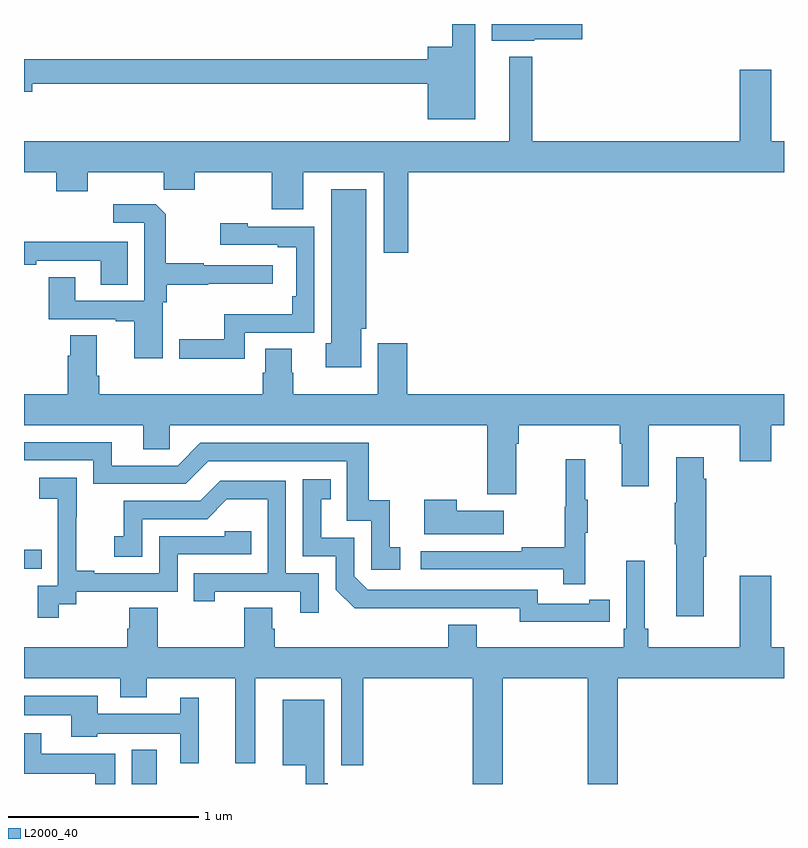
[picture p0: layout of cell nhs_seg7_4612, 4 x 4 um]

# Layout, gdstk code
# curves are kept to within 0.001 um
import gdstk
lib = gdstk.Library(unit=1e-6, precision=1e-09)
def R(c, l, rs):  # rectangles x0, y0, x1, y1
    for r in rs: c.add(gdstk.rectangle(r[:2], r[2:], *l))
def P(c, l, *ps):  # polygons
    for p in ps: c.add(gdstk.Polygon(p, *l))
L2000_40 = (2000, 40)

nhs_seg7_4612 = lib.new_cell('nhs_seg7_4612')
R(nhs_seg7_4612, L2000_40, [(401.567,1060,401.698,1060.18), (401,1061.133,401.093,1061.234)])
P(nhs_seg7_4612, L2000_40, [(403.686,1063.919),(403.939,1063.919),(403.939,1064),(403.463,1064),(403.463,1063.913),(403.686,1063.913)],
  [(403.375,1064),(403.254,1064),(403.254,1063.879),(403.124,1063.879),(403.124,1063.814),(401,1063.814),(401,1063.643),(401.044,1063.643),(401.044,1063.686),(403.124,1063.686),(403.124,1063.499),(403.375,1063.499)],
  [(403.022,1063.22),(405,1063.22),(405,1063.384),(404.932,1063.384),(404.932,1063.759),(404.768,1063.759),(404.768,1063.384),(403.675,1063.384),(403.675,1063.828),(403.553,1063.828),(403.553,1063.384),(401,1063.384),(401,1063.22),(401.171,1063.22),(401.171,1063.121),(401.335,1063.121),(401.335,1063.22),(401.735,1063.22),(401.735,1063.127),(401.899,1063.127),(401.899,1063.22),(402.305,1063.22),(402.305,1063.026),(402.469,1063.026),(402.469,1063.22),(402.893,1063.22),(402.893,1062.795),(403.022,1062.795)],
  [(402.775,1062.396),(402.802,1062.396),(402.802,1063.129),(402.617,1063.129),(402.617,1062.32),(402.587,1062.32),(402.587,1062.194),(402.775,1062.194)],
  [(401.73,1062.536),(401.75,1062.536),(401.75,1062.628),(401.969,1062.628),(401.969,1062.632),(402.31,1062.632),(402.31,1062.729),(401.945,1062.729),(401.945,1062.742),(401.745,1062.742),(401.745,1062.999),(401.693,1063.051),(401.469,1063.051),(401.469,1062.954),(401.634,1062.954),(401.634,1062.543),(401.269,1062.543),(401.269,1062.668),(401.129,1062.668),(401.129,1062.447),(401.483,1062.447),(401.483,1062.435),(401.579,1062.435),(401.579,1062.24),(401.73,1062.24)],
  [(402.162,1062.375),(402.528,1062.375),(402.528,1062.933),(402.177,1062.933),(402.177,1062.952),(402.033,1062.952),(402.033,1062.837),(402.335,1062.837),(402.335,1062.825),(402.432,1062.825),(402.432,1062.568),(402.412,1062.568),(402.412,1062.472),(402.054,1062.472),(402.054,1062.341),(401.817,1062.341),(401.817,1062.239),(402.162,1062.239)],
  [(401.545,1062.854),(401,1062.854),(401,1062.733),(401.065,1062.733),(401.065,1062.753),(401.405,1062.753),(401.405,1062.628),(401.545,1062.628)],
  [(403.591,1061.792),(403.604,1061.792),(403.604,1061.888),(404.135,1061.888),(404.135,1061.792),(404.147,1061.792),(404.147,1061.568),(404.287,1061.568),(404.287,1061.888),(404.768,1061.888),(404.768,1061.7),(404.932,1061.7),(404.932,1061.888),(405,1061.888),(405,1062.052),(403.016,1062.052),(403.016,1062.319),(402.863,1062.319),(402.863,1062.052),(402.417,1062.052),(402.417,1062.165),(402.409,1062.165),(402.409,1062.29),(402.269,1062.29),(402.269,1062.165),(402.257,1062.165),(402.257,1062.052),(401.396,1062.052),(401.396,1062.148),(401.383,1062.148),(401.383,1062.362),(401.243,1062.362),(401.243,1062.254),(401.231,1062.254),(401.231,1062.052),(401,1062.052),(401,1061.888),(401.627,1061.888),(401.627,1061.761),(401.766,1061.761),(401.766,1061.888),(403.439,1061.888),(403.439,1061.526),(403.591,1061.526)],
  [(402.979,1061.247),(402.926,1061.247),(402.926,1061.494),(402.815,1061.494),(402.815,1061.796),(401.928,1061.796),(401.808,1061.676),(401.461,1061.676),(401.461,1061.799),(401,1061.799),(401,1061.703),(401.364,1061.703),(401.364,1061.58),(401.85,1061.58),(401.97,1061.7),(402.699,1061.7),(402.699,1061.385),(402.828,1061.385),(402.828,1061.127),(402.979,1061.127)],
  [(404.578,1061.196),(404.591,1061.196),(404.591,1061.606),(404.578,1061.606),(404.578,1061.719),(404.432,1061.719),(404.432,1061.48),(404.425,1061.48),(404.425,1061.263),(404.432,1061.263),(404.432,1060.884),(404.578,1060.884)],
  [(403.955,1061.323),(403.966,1061.323),(403.966,1061.497),(403.955,1061.497),(403.955,1061.71),(403.852,1061.71),(403.852,1061.46),(403.845,1061.46),(403.845,1061.246),(403.621,1061.246),(403.621,1061.226),(403.089,1061.226),(403.089,1061.13),(403.837,1061.13),(403.837,1061.052),(403.955,1061.052)],
  [(401.182,1060.945),(401.274,1060.945),(401.274,1061.013),(401.808,1061.013),(401.808,1061.208),(402.197,1061.208),(402.197,1061.331),(402.057,1061.331),(402.057,1061.304),(401.712,1061.304),(401.712,1061.109),(401.371,1061.109),(401.371,1061.122),(401.276,1061.122),(401.276,1061.405),(401.277,1061.405),(401.277,1061.611),(401.079,1061.611),(401.079,1061.501),(401.177,1061.501),(401.177,1061.273),(401.178,1061.273),(401.178,1061.043),(401.073,1061.043),(401.073,1060.875),(401.182,1060.875)],
  [(403.976,1060.854),(404.084,1060.854),(404.084,1060.97),(403.976,1060.97),(403.976,1060.95),(403.704,1060.95),(403.704,1061.022),(402.81,1061.022),(402.738,1061.094),(402.738,1061.295),(402.565,1061.295),(402.565,1061.499),(402.614,1061.499),(402.614,1061.605),(402.468,1061.605),(402.468,1061.199),(402.642,1061.199),(402.642,1061.022),(402.74,1060.925),(403.608,1060.926),(403.608,1060.853)],
  [(402.552,1061.109),(402.378,1061.109),(402.378,1061.595),(402.032,1061.595),(401.927,1061.49),(401.524,1061.49),(401.524,1061.305),(401.475,1061.305),(401.475,1061.196),(401.622,1061.196),(401.622,1061.394),(401.964,1061.394),(402.068,1061.498),(402.282,1061.498),(402.282,1061.109),(401.893,1061.109),(401.893,1060.962),(402.004,1060.962),(402.004,1061.013),(402.455,1061.013),(402.455,1060.902),(402.552,1060.902)],
  [(403.525,1061.437),(403.277,1061.437),(403.277,1061.497),(403.106,1061.497),(403.106,1061.315),(403.525,1061.315)],
  [(403.521,1060.556),(403.966,1060.556),(403.966,1060),(404.126,1060),(404.126,1060.556),(405,1060.556),(405,1060.72),(404.932,1060.72),(404.932,1061.095),(404.768,1061.095),(404.768,1060.72),(404.285,1060.72),(404.285,1060.816),(404.266,1060.816),(404.266,1061.176),(404.169,1061.176),(404.169,1060.816),(404.156,1060.816),(404.156,1060.72),(403.384,1060.72),(403.384,1060.837),(403.232,1060.837),(403.232,1060.72),(402.32,1060.72),(402.32,1060.818),(402.307,1060.818),(402.307,1060.928),(402.16,1060.928),(402.16,1060.72),(401.703,1060.72),(401.703,1060.928),(401.555,1060.928),(401.555,1060.818),(401.543,1060.818),(401.543,1060.72),(401,1060.72),(401,1060.556),(401.507,1060.556),(401.507,1060.457),(401.647,1060.457),(401.647,1060.556),(402.113,1060.556),(402.113,1060.11),(402.217,1060.11),(402.217,1060.556),(402.669,1060.556),(402.669,1060.098),(402.785,1060.098),(402.785,1060.556),(403.361,1060.556),(403.361,1060),(403.521,1060)],
  [(401.921,1060.453),(401.822,1060.453),(401.822,1060.369),(401.389,1060.369),(401.389,1060.465),(401,1060.465),(401,1060.361),(401.249,1060.361),(401.249,1060.25),(401.385,1060.25),(401.385,1060.265),(401.823,1060.265),(401.823,1060.11),(401.921,1060.11)],
  [(402.599,1060.004),(402.58,1060.004),(402.58,1060.444),(402.362,1060.444),(402.362,1060.1),(402.483,1060.1),(402.483,1060),(402.599,1060)],
  [(401.479,1060.159),(401.092,1060.159),(401.092,1060.267),(401,1060.267),(401,1060.055),(401.375,1060.055),(401.375,1060),(401.479,1060)])

lib.write_gds('nhs_seg7_4612.gds')
